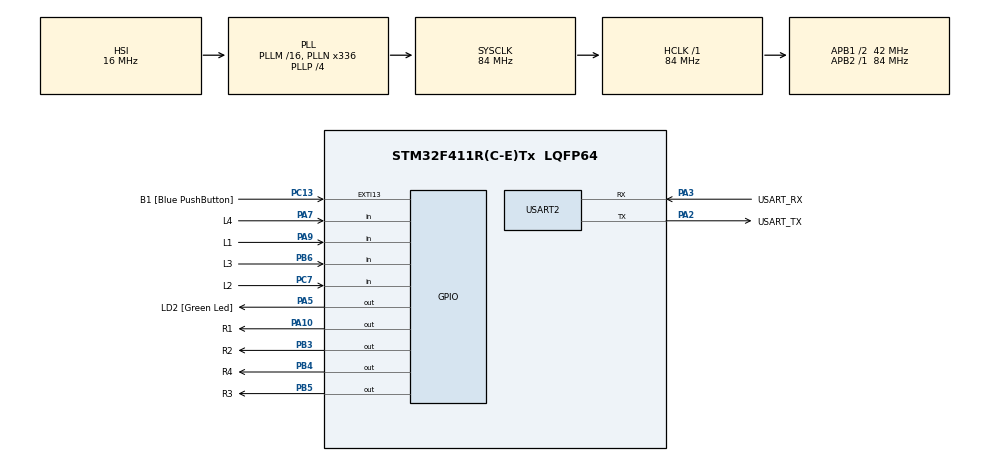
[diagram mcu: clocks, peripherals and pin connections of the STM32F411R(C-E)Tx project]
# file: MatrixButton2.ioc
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Mcu.Family=STM32F4
Mcu.Name=STM32F411R(C-E)Tx
Mcu.Package=LQFP64
NVIC.PriorityGroup=NVIC_PRIORITYGROUP_0
PA10.GPIO_Label=R1
PA10.GPIO_ModeDefaultOutputPP=GPIO_MODE_OUTPUT_OD
PA10.GPIO_PuPd=GPIO_NOPULL
PA10.PinState=GPIO_PIN_SET
PA10.Signal=GPIO_Output
PA13.GPIO_Label=TMS
PA13.Mode=Serial_Wire
PA13.Signal=SYS_JTMS-SWDIO
PA14.GPIO_Label=TCK
PA14.Mode=Serial_Wire
PA14.Signal=SYS_JTCK-SWCLK
PA2.GPIO_Label=USART_TX
PA2.Mode=Asynchronous
PA2.Signal=USART2_TX
PA3.GPIO_Label=USART_RX
PA3.Mode=Asynchronous
PA3.Signal=USART2_RX
PA5.GPIO_Label=LD2 [Green Led]
PA5.Signal=GPIO_Output
PA7.GPIO_Label=L4
PA7.GPIO_PuPd=GPIO_PULLUP
PA7.Signal=GPIO_Input
PA9.GPIO_Label=L1
PA9.GPIO_PuPd=GPIO_PULLUP
PA9.Signal=GPIO_Input
PB3.GPIO_Label=R2
PB3.GPIO_ModeDefaultOutputPP=GPIO_MODE_OUTPUT_OD
PB3.GPIO_PuPd=GPIO_NOPULL
PB3.PinState=GPIO_PIN_SET
PB3.Signal=GPIO_Output
PB4.GPIO_Label=R4
PB4.GPIO_ModeDefaultOutputPP=GPIO_MODE_OUTPUT_OD
PB4.GPIO_PuPd=GPIO_NOPULL
PB4.GPIO_Speed=GPIO_SPEED_FREQ_LOW
PB4.PinState=GPIO_PIN_SET
PB4.Signal=GPIO_Output
PB5.GPIO_Label=R3
PB5.GPIO_ModeDefaultOutputPP=GPIO_MODE_OUTPUT_OD
PB5.GPIO_PuPd=GPIO_NOPULL
PB5.PinState=GPIO_PIN_SET
PB5.Signal=GPIO_Output
PB6.GPIO_Label=L3
PB6.GPIO_PuPd=GPIO_PULLUP
PB6.Signal=GPIO_Input
PC13-ANTI_TAMP.GPIO_Label=B1 [Blue PushButton]
PC13-ANTI_TAMP.GPIO_ModeDefaultEXTI=GPIO_MODE_IT_FALLING
PC13-ANTI_TAMP.Signal=GPXTI13
PC14-OSC32_IN.Mode=LSE-External-Oscillator
PC14-OSC32_IN.Signal=RCC_OSC32_IN
PC15-OSC32_OUT.Mode=LSE-External-Oscillator
PC15-OSC32_OUT.Signal=RCC_OSC32_OUT
PC7.GPIO_Label=L2
PC7.GPIO_PuPd=GPIO_PULLUP
PC7.Signal=GPIO_Input
PH0\ -\ OSC_IN.Mode=HSE-External-Clock-Source
PH0\ -\ OSC_IN.Signal=RCC_OSC_IN
PH1\ -\ OSC_OUT.Mode=HSE-External-Clock-Source
PH1\ -\ OSC_OUT.Signal=RCC_OSC_OUT
ProjectManager.HeapSize=0x200
ProjectManager.StackSize=0x400
ProjectManager.TargetToolchain=STM32CubeIDE
RCC.48MHZClocksFreq_Value=84000000
RCC.AHBFreq_Value=84000000
RCC.APB1CLKDivider=RCC_HCLK_DIV2
RCC.APB1Freq_Value=42000000
RCC.APB1TimFreq_Value=84000000
RCC.APB2Freq_Value=84000000
RCC.APB2TimFreq_Value=84000000
RCC.CortexFreq_Value=84000000
RCC.FLatency-AdvancedSettings=FLASH_LATENCY_2
RCC.HCLKFreq_Value=84000000
RCC.HSE_VALUE=8000000
RCC.HSI_VALUE=16000000
RCC.PLLN=336
RCC.PLLP=RCC_PLLP_DIV4
RCC.SYSCLKFreq_VALUE=84000000
RCC.SYSCLKSource=RCC_SYSCLKSOURCE_PLLCLK
RCC.VCOOutputFreq_Value=336000000
USART2.VirtualMode=VM_ASYNC
board=NUCLEO-F411RE

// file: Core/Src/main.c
/* USER CODE BEGIN Header */
/**
  ******************************************************************************
  * @file           : main.c
  * @brief          : Main program body
  ******************************************************************************
  * @attention
  *
  * Copyright (c) 2023 STMicroelectronics.
  * All rights reserved.
  *
  * This software is licensed under terms that can be found in the LICENSE file
  * in the root directory of this software component.
  * If no LICENSE file comes with this software, it is provided AS-IS.
  *
  ******************************************************************************
  */
/* USER CODE END Header */
#include "main.h"

UART_HandleTypeDef huart2;

/* USER CODE BEGIN PV */

//create Structure of PortPin ,Typedef it to type name PortPin
typedef struct _PortPin
{
	GPIO_TypeDef* PORT;
	uint16_t PIN;
} PortPin;

//declare PortPin R,L
PortPin R[4] =
{
		{GPIOA,GPIO_PIN_10},
		{GPIOB,GPIO_PIN_3},
		{GPIOB,GPIO_PIN_5},
		{GPIOB,GPIO_PIN_4}
};

PortPin L[4] =
{
		{GPIOA,GPIO_PIN_9},
		{GPIOC,GPIO_PIN_7},
		{GPIOB,GPIO_PIN_6},
		{GPIOA,GPIO_PIN_7}
};

//For Button Contenter
uint16_t Cout[11] = {};
uint16_t ButtonMatrix=0;
uint16_t num =0;
uint16_t Coutnum = 0;
uint16_t Check = 0;
/* USER CODE END PV */

void SystemClock_Config(void);
static void MX_GPIO_Init(void);
static void MX_USART2_UART_Init(void);
/* USER CODE BEGIN PFP */
void ReadMatrixButton_1Row();
void Number ();
/* USER CODE END PFP */

int main(void)
{

  /* MCU Configuration--------------------------------------------------------*/

  /* Reset of all peripherals, Initializes the Flash interface and the Systick. */
  HAL_Init();

  /* Configure the system clock */
  SystemClock_Config();

  /* Initialize all configured peripherals */
  MX_GPIO_Init();
  MX_USART2_UART_Init();

  /* Infinite loop */
  while (1)
  {

    /* USER CODE BEGIN 3 */
	  //Call function every 10 ms = 100Hz

	  static uint32_t timestamp=0;
	  if(HAL_GetTick()>=timestamp)
	  {
		  timestamp =HAL_GetTick() + 10;
		  ReadMatrixButton_1Row();

	  }

		  if(ButtonMatrix > 0 && Check == 0 )
		  {
			  Number();
			  Coutnum +=1;
		  }
		  Check = ButtonMatrix ;

		  if(ButtonMatrix == 8192)
		  {
			  register int a;
			  for(a = 0 ; a<11; ++a)
			  {
				  Cout[a]= 0 ;
			  }
			  Coutnum =0 ;
			  HAL_GPIO_WritePin(LD2_GPIO_Port, LD2_Pin,GPIO_PIN_RESET );
		  }

  }
  /* USER CODE END 3 */
}

void SystemClock_Config(void)
{
  RCC_OscInitTypeDef RCC_OscInitStruct = {0};
  RCC_ClkInitTypeDef RCC_ClkInitStruct = {0};

  /** Configure the main internal regulator output voltage
  */
  __HAL_RCC_PWR_CLK_ENABLE();
  __HAL_PWR_VOLTAGESCALING_CONFIG(PWR_REGULATOR_VOLTAGE_SCALE1);

  /** Initializes the RCC Oscillators according to the specified parameters
  * in the RCC_OscInitTypeDef structure.
  */
  RCC_OscInitStruct.OscillatorType = RCC_OSCILLATORTYPE_HSI;
  RCC_OscInitStruct.HSIState = RCC_HSI_ON;
  RCC_OscInitStruct.HSICalibrationValue = RCC_HSICALIBRATION_DEFAULT;
  RCC_OscInitStruct.PLL.PLLState = RCC_PLL_ON;
  RCC_OscInitStruct.PLL.PLLSource = RCC_PLLSOURCE_HSI;
  RCC_OscInitStruct.PLL.PLLM = 16;
  RCC_OscInitStruct.PLL.PLLN = 336;
  RCC_OscInitStruct.PLL.PLLP = RCC_PLLP_DIV4;
  RCC_OscInitStruct.PLL.PLLQ = 4;
  if (HAL_RCC_OscConfig(&RCC_OscInitStruct) != HAL_OK)
  {
    Error_Handler();
  }

  /** Initializes the CPU, AHB and APB buses clocks
  */
  RCC_ClkInitStruct.ClockType = RCC_CLOCKTYPE_HCLK|RCC_CLOCKTYPE_SYSCLK
                              |RCC_CLOCKTYPE_PCLK1|RCC_CLOCKTYPE_PCLK2;
  RCC_ClkInitStruct.SYSCLKSource = RCC_SYSCLKSOURCE_PLLCLK;
  RCC_ClkInitStruct.AHBCLKDivider = RCC_SYSCLK_DIV1;
  RCC_ClkInitStruct.APB1CLKDivider = RCC_HCLK_DIV2;
  RCC_ClkInitStruct.APB2CLKDivider = RCC_HCLK_DIV1;

  if (HAL_RCC_ClockConfig(&RCC_ClkInitStruct, FLASH_LATENCY_2) != HAL_OK)
  {
    Error_Handler();
  }
}

static void MX_USART2_UART_Init(void)
{

  huart2.Instance = USART2;
  huart2.Init.BaudRate = 115200;
  huart2.Init.WordLength = UART_WORDLENGTH_8B;
  huart2.Init.StopBits = UART_STOPBITS_1;
  huart2.Init.Parity = UART_PARITY_NONE;
  huart2.Init.Mode = UART_MODE_TX_RX;
  huart2.Init.HwFlowCtl = UART_HWCONTROL_NONE;
  huart2.Init.OverSampling = UART_OVERSAMPLING_16;
  if (HAL_UART_Init(&huart2) != HAL_OK)
  {
    Error_Handler();
  }

}

static void MX_GPIO_Init(void)
{
  GPIO_InitTypeDef GPIO_InitStruct = {0};

  /* GPIO Ports Clock Enable */
  __HAL_RCC_GPIOC_CLK_ENABLE();
  __HAL_RCC_GPIOH_CLK_ENABLE();
  __HAL_RCC_GPIOA_CLK_ENABLE();
  __HAL_RCC_GPIOB_CLK_ENABLE();

  /*Configure GPIO pin Output Level */
  HAL_GPIO_WritePin(LD2_GPIO_Port, LD2_Pin, GPIO_PIN_RESET);

  /*Configure GPIO pin Output Level */
  HAL_GPIO_WritePin(R1_GPIO_Port, R1_Pin, GPIO_PIN_SET);

  /*Configure GPIO pin Output Level */
  HAL_GPIO_WritePin(GPIOB, R2_Pin|R4_Pin|R3_Pin, GPIO_PIN_SET);

  /*Configure GPIO pin : B1_Pin */
  GPIO_InitStruct.Pin = B1_Pin;
  GPIO_InitStruct.Mode = GPIO_MODE_IT_FALLING;
  GPIO_InitStruct.Pull = GPIO_NOPULL;
  HAL_GPIO_Init(B1_GPIO_Port, &GPIO_InitStruct);

  /*Configure GPIO pin : LD2_Pin */
  GPIO_InitStruct.Pin = LD2_Pin;
  GPIO_InitStruct.Mode = GPIO_MODE_OUTPUT_PP;
  GPIO_InitStruct.Pull = GPIO_NOPULL;
  GPIO_InitStruct.Speed = GPIO_SPEED_FREQ_LOW;
  HAL_GPIO_Init(LD2_GPIO_Port, &GPIO_InitStruct);

  /*Configure GPIO pins : L4_Pin L1_Pin */
  GPIO_InitStruct.Pin = L4_Pin|L1_Pin;
  GPIO_InitStruct.Mode = GPIO_MODE_INPUT;
  GPIO_InitStruct.Pull = GPIO_PULLUP;
  HAL_GPIO_Init(GPIOA, &GPIO_InitStruct);

  /*Configure GPIO pin : L2_Pin */
  GPIO_InitStruct.Pin = L2_Pin;
  GPIO_InitStruct.Mode = GPIO_MODE_INPUT;
  GPIO_InitStruct.Pull = GPIO_PULLUP;
  HAL_GPIO_Init(L2_GPIO_Port, &GPIO_InitStruct);

  /*Configure GPIO pin : R1_Pin */
  GPIO_InitStruct.Pin = R1_Pin;
  GPIO_InitStruct.Mode = GPIO_MODE_OUTPUT_OD;
  GPIO_InitStruct.Pull = GPIO_NOPULL;
  GPIO_InitStruct.Speed = GPIO_SPEED_FREQ_LOW;
  HAL_GPIO_Init(R1_GPIO_Port, &GPIO_InitStruct);

  /*Configure GPIO pins : R2_Pin R4_Pin R3_Pin */
  GPIO_InitStruct.Pin = R2_Pin|R4_Pin|R3_Pin;
  GPIO_InitStruct.Mode = GPIO_MODE_OUTPUT_OD;
  GPIO_InitStruct.Pull = GPIO_NOPULL;
  GPIO_InitStruct.Speed = GPIO_SPEED_FREQ_LOW;
  HAL_GPIO_Init(GPIOB, &GPIO_InitStruct);

  /*Configure GPIO pin : L3_Pin */
  GPIO_InitStruct.Pin = L3_Pin;
  GPIO_InitStruct.Mode = GPIO_MODE_INPUT;
  GPIO_InitStruct.Pull = GPIO_PULLUP;
  HAL_GPIO_Init(L3_GPIO_Port, &GPIO_InitStruct);

}

/* USER CODE BEGIN 4 */
void Number ()
{
	if(ButtonMatrix == 1)
	{
		num = 7 ;
		Cout[Coutnum] = num ;
	}
	else if(ButtonMatrix == 2)
	{
		num = 4;
		Cout[Coutnum] = num ;
	}
	else if(ButtonMatrix == 4)
	{
		num = 1;
		Cout[Coutnum] = num ;
	}
	else if(ButtonMatrix == 8)
	{
		num = 0;
		Cout[Coutnum] = num ;
	}
	else if(ButtonMatrix == 16)
	{
		num = 8;
		Cout[Coutnum] = num ;
	}
	else if(ButtonMatrix == 32)
	{
		num = 5;
		Cout[Coutnum] = num ;
	}
	else if(ButtonMatrix == 64)
	{
		num = 2;
		Cout[Coutnum] = num ;
	}
	else if(ButtonMatrix == 256)
	{
		num = 9;
		Cout[Coutnum] = num ;
	}
	else if(ButtonMatrix == 512)
	{
		num = 6;
		Cout[Coutnum] = num ;
	}
	else if(ButtonMatrix == 1024)
	{
		num = 3;
		Cout[Coutnum] = num ;
	}
	else if(ButtonMatrix == 32768)
	{
		if (Cout[0] == 6 && Cout[1] == 4 && Cout[2] == 3 && Cout[3] == 4 && Cout[4] == 0 && Cout[5] == 5 && Cout[6] ==0 && Cout[7] == 0 && Cout[8] == 0 && Cout[9] == 1 && Cout[10] == 5 )
		{
			HAL_GPIO_WritePin(LD2_GPIO_Port, LD2_Pin,GPIO_PIN_SET );
		}
	}

}
void ReadMatrixButton_1Row()
{
	//
	static uint8_t X = 0;

	//READ L1-L4
	register int i;
	for(i=0;i<4;i++)
	{
		if(HAL_GPIO_ReadPin(L[i].PORT, L[i].PIN))
		{
			ButtonMatrix &= ~(1<<(X*4+i));

		}
		else
		{
			ButtonMatrix |= 1<<(X*4+i);

		}

	}
	//SET RX
	HAL_GPIO_WritePin(R[X].PORT, R[X].PIN, 1);
	//RESET RX+1%4
	HAL_GPIO_WritePin(R[(X+1)%4].PORT, R[(X+1)%4].PIN, 0);
	X++;
	X%=4;
}
/* USER CODE END 4 */

void Error_Handler(void)
{
  __disable_irq();
  while (1)
  {
  }
}
